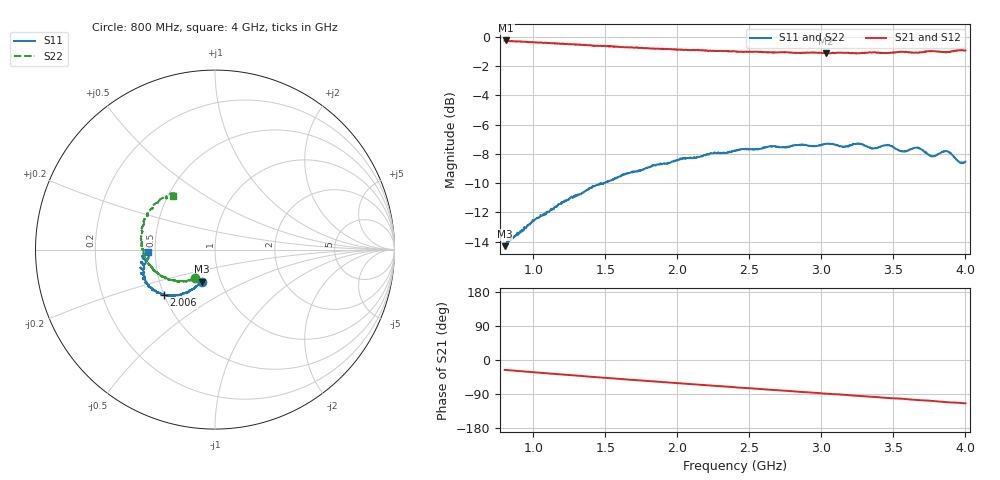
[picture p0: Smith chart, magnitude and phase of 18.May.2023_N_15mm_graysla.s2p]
!Keysight Technologies N9950B: A.12.38
!Date: Thursday, 18 May 2023 16:47:53
!Timezone: (UTC-06:00) Central Time (US & Canada)
!Model: N9950B
!Serial: MY61131330
!GPS Latitude:
!GPS Longitude:
!GPS TimeStamp: 0001-01-01 00:00:00Z
!GPS Seconds Since Last Read: 0
!CHECKSUM:1823022656
!Correction: S11(ON U)S21(ON U)S12(ON U)S22(ON U)
!S2P File: Measurements:S11,S21,S12,S22:
# Hz S DB R 50
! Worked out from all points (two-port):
!   1001 points, 800 MHz to 4 GHz, reference 50 ohm
!   highest |S21| = -0.24 dB at 809.6 MHz (marker M1); lowest = -1.1 dB at 3.034 GHz (marker M2)
!   |S21| within 3 dB of the highest: start of sweep to end of sweep
!   lowest |S11| = -14.3 dB at 800 MHz (marker M3), VSWR 1.48, Z = 40.6 - j15 ohm
!   |S11| at or under -10 dB: start of sweep to 1.487 GHz
!   |S22| runs from -14.3 to -7.3 dB; largest |S21 - S12| = 0.0051
!   S11 on the Smith chart (normalised r, x): 800 MHz: 0.81, -0.30; 2.006 GHz: 0.50, -0.30; 4 GHz: 0.45, -0.01
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8e8  -14.30 -112.5  -0.26 -26.1  -0.27 -26.0  -14.29 -124.4
8.096e8  -14.12 -112.1  -0.24 -26.4  -0.27 -26.4  -14.10 -123.9
1.0112e9  -12.48 -117.5  -0.37 -32.6  -0.37 -32.6  -12.51 -132.5
1.3344e9  -10.69 -124.6  -0.54 -42.1  -0.54 -42.2  -10.68 -144.4
1.8688e9  -8.72 -135.6  -0.80 -57.5  -0.81 -57.5  -8.74 -163.2
2.0064e9  -8.40 -138.3  -0.86 -61.2  -0.88 -61.4  -8.46 -167.7
2.4e9  -7.81 -146.5  -0.99 -72.0  -0.98 -71.9  -7.83 178.8
2.7136e9  -7.54 -150.5  -1.04 -80.2  -1.04 -80.3  -7.59 167.0
2.8256e9  -7.41 -154.5  -1.07 -83.3  -1.07 -83.3  -7.44 164.6
2.9344e9  -7.48 -154.5  -1.06 -86.0  -1.08 -85.9  -7.54 159.6
3.0336e9  -7.30 -158.2  -1.13 -88.8  -1.12 -88.9  -7.38 157.6
3.1424e9  -7.49 -158.2  -1.07 -91.4  -1.07 -91.4  -7.52 152.9
3.2544e9  -7.31 -162.3  -1.12 -94.8  -1.13 -94.7  -7.39 150.4
3.3536e9  -7.61 -162.0  -1.05 -96.8  -1.06 -96.9  -7.61 146.1
3.4688e9  -7.41 -165.9  -1.09 -100.4  -1.10 -100.4  -7.50 143.1
3.5328e9  -7.71 -165.0  -1.01 -101.7  -1.04 -101.6  -7.77 140.0
3.632e9  -7.64 -170.5  -1.06 -104.8  -1.07 -104.7  -7.65 139.1
3.7344e9  -7.97 -168.3  -0.99 -107.0  -1.01 -107.1  -8.04 132.8
3.8336e9  -7.89 -174.8  -1.02 -110.1  -1.02 -110.2  -7.92 132.8
3.8816e9  -7.83 -173.4  -1.03 -111.6  -1.03 -111.6  -7.99 129.0
3.9296e9  -8.29 -171.5  -0.94 -112.5  -0.95 -112.6  -8.30 125.6
4e9  -8.52 -177.8  -0.92 -114.5  -0.94 -114.4  -8.44 127.8
